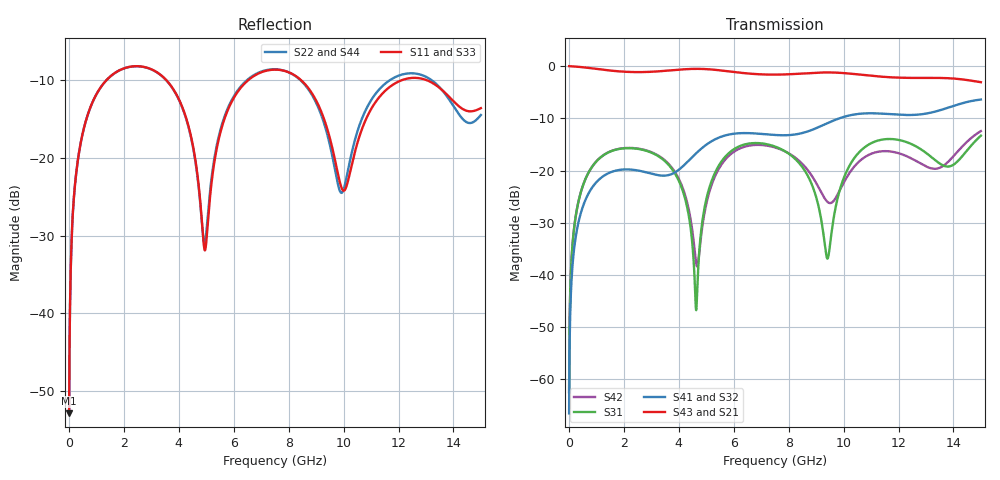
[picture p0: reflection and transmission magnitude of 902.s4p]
! Created with skrf 1.8.0 (http://scikit-rf.org).
# GHz S RI R 50.0
!freq ReS11 ImS11 ReS12 ImS12 ReS13 ImS13
! ReS14 ImS14
! ReS21 ImS21 ReS22 ImS22 ReS23 ImS23
! ReS24 ImS24
! ReS31 ImS31 ReS32 ImS32 ReS33 ImS33
! ReS34 ImS34
! ReS41 ImS41 ReS42 ImS42 ReS43 ImS43
! ReS44 ImS44
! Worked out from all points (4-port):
!   2499 points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, 5 MHz to 15 GHz, reference 50 ohm
!   strongest paths, dB at 5 MHz, 3.476 GHz, 7.19 GHz, 11.1 GHz, 15 GHz:
!     S43: 0.0, -0.9, -1.6, -1.9, -3.1
!     S21: 0.0, -0.9, -1.6, -1.9, -3.1
!     S41: -66.5, -21.0, -13.1, -9.0, -6.4
!     S32: -66.5, -21.1, -13.1, -9.1, -6.4
!     S31: -62.4, -18.1, -14.9, -14.5, -13.3
!     S42: -62.4, -18.0, -15.2, -16.6, -12.4
!   lowest |S11| = -52.9 dB at 5 MHz (marker M1), VSWR 1.00, Z = 50.2 + j0.138 ohm
!   |S11| at or under -10 dB: 3.55 GHz to 6.52 GHz (2.97 GHz wide, 59 % of centre); 8.459 GHz to 12.11 GHz (3.648 GHz wide, 35.5 % of centre); 13.04 GHz to end of sweep (the widest 3 of 4)
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0.005  0.00181 0.00137  0.9982 -0.00352  9.26e-05 0.000749  -8.97e-05 -0.000465
       0.9982 -0.00352  0.00181 0.00137  -8.97e-05 -0.000465  9.26e-05 0.000749
       9.26e-05 0.000749  -8.97e-05 -0.000465  0.00181 0.00137  0.9982 -0.00352
       -8.97e-05 -0.000465  9.26e-05 0.000749  0.9982 -0.00352  0.00181 0.00137
0.3126303  0.0285 0.0894  0.961 -0.2183  0.0137 0.0439  -0.0114 -0.0268
           0.961 -0.2183  0.0285 0.0894  -0.0114 -0.0268  0.0138 0.0439
           0.0137 0.0439  -0.0114 -0.0268  0.0285 0.0894  0.961 -0.2183
           -0.0114 -0.0268  0.0138 0.0439  0.961 -0.2183  0.0285 0.0894
1.369321  0.2622 0.1793  0.5655 -0.7186  0.1295 0.0677  -0.0919 -0.00876
          0.5655 -0.7186  0.2619 0.1794  -0.0918 -0.00891  0.1308 0.066
          0.1295 0.0677  -0.0918 -0.00891  0.2623 0.1792  0.5655 -0.7185
          -0.0919 -0.00876  0.1308 0.066  0.5655 -0.7185  0.2618 0.1795
4.63318  0.0407 -0.0797  -0.9024 -0.2657  0.00458 0.000393  -0.0354 0.1421
         -0.9024 -0.2657  0.0423 -0.0764  -0.0382 0.1413  -0.0119 -0.00503
         0.00458 0.000393  -0.0382 0.1413  0.039 -0.0796  -0.9025 -0.2657
         -0.0354 0.1421  -0.0119 -0.00503  -0.9025 -0.2657  0.0437 -0.0754
5.908712  0.1586 0.1627  -0.7523 0.4644  0.1317 0.0787  0.1503 0.1649
          -0.7523 0.4644  0.1653 0.164  0.1469 0.1675  0.1166 0.0857
          0.1317 0.0787  0.1469 0.1675  0.1575 0.1641  -0.7525 0.4641
          0.1503 0.1649  0.1166 0.0857  -0.7525 0.4641  0.1663 0.1627
10.01042  0.0615 -0.00261  0.8521 0.0902  0.0302 0.0796  0.0193 -0.3259
          0.8521 0.0902  0.0614 0.016  0.0313 -0.3253  -0.0178 0.0749
          0.0302 0.0796  0.0313 -0.3253  0.058 0.000915  0.8521 0.091
          0.0193 -0.3259  -0.0178 0.0749  0.8521 0.091  0.0649 0.0177
15  0.2093 -0.00709  -0.691 -0.1178  -0.0011 0.2156  -0.061 0.4744
    -0.691 -0.1178  0.1873 0.0261  -0.0827 0.4697  -0.0517 0.233
    -0.0011 0.2156  -0.0827 0.4697  0.2136 0.00417  -0.6905 -0.1219
    -0.061 0.4744  -0.0517 0.233  -0.6905 -0.1219  0.1834 0.0209
